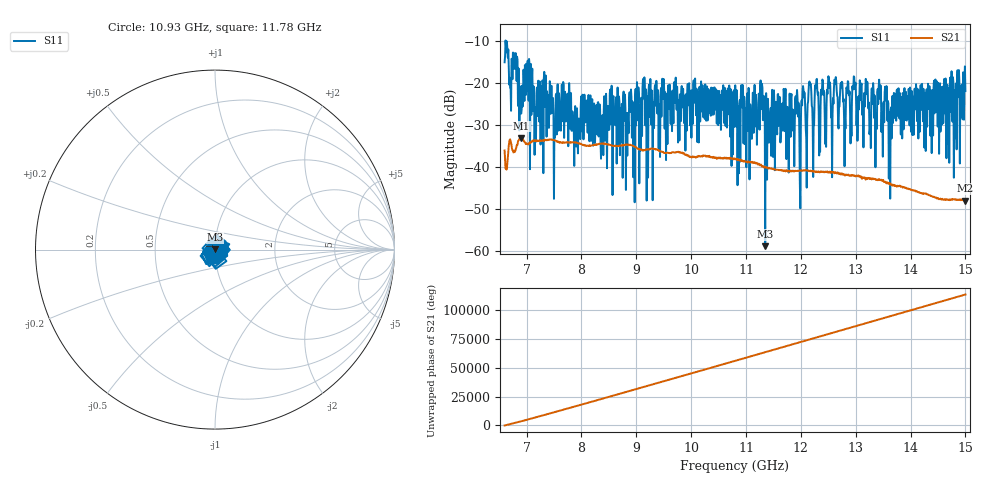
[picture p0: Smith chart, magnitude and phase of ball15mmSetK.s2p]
!Keysight Technologies,N5235B,MY61252044,A.15.00.15
!Date: Friday, January 20, 2023 23:06:21
!Correction: S11(Off)
!S21(Off)
!S12(Off)
!S22(Off)
!S2P File: Measurements: S11, S21, S12, S22:
# Hz S  RI  R 50
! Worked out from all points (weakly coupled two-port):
!   1000 points, 6.6 GHz to 15 GHz, reference 50 ohm
!   highest |S21| = -33.06 dB at 6.903 GHz (marker M1); lowest = -47.9 dB at 14.99 GHz (marker M2)
!   lowest |S11| = -58.8 dB at 11.35 GHz (marker M3), VSWR 1.00, Z = 50 + j0.115 ohm
!   |S11| at or under -10 dB: start of sweep to 6.616595 GHz; 6.617 GHz to end of sweep
!   S12 and S22 are empty: the file has one direction only
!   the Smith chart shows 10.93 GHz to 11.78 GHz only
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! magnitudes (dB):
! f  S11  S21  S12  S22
! 6.6 GHz  -15.1  -36.0  -  -
! 6.701 GHz  -21.1  -33.4  -  -
! 6.793 GHz  -16.6  -36.2  -  -
! 6.903 GHz  -27.3  -33.1  -  -
! 7.012 GHz  -21.9  -34.5  -  -
! 7.155 GHz  -25.8  -33.6  -  -
! 8.004 GHz  -28.1  -34.6  -  -
! 8.82 GHz  -27.1  -34.6  -  -
! 9.4 GHz  -23.1  -35.9  -  -
! 10.8 GHz  -20.6  -38.1  -  -
! 11.3 GHz  -21.2  -39.8  -  -
! 11.35 GHz  -58.8  -39.9  -  -
! 11.93 GHz  -21.7  -40.9  -  -
! 11.98 GHz  -43.1  -40.8  -  -
! 12.17 GHz  -20.5  -40.8  -  -
! 12.2 GHz  -25.5  -40.9  -  -
! 12.97 GHz  -18.6  -41.9  -  -
! 13.55 GHz  -24.2  -43.7  -  -
! 13.6 GHz  -42.7  -43.9  -  -
! 13.74 GHz  -29.0  -44.5  -  -
! 14.99 GHz  -16.1  -47.9  -  -
! 15 GHz  -21.9  -47.8  -  -
